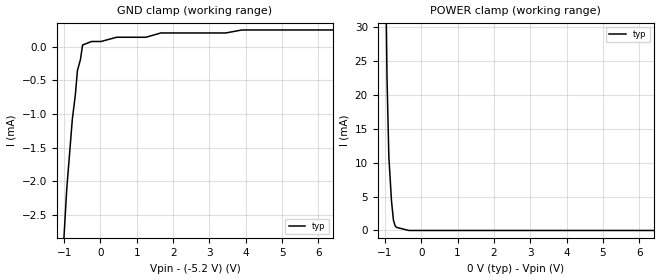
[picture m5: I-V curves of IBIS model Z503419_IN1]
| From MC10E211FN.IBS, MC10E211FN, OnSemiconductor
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| (C) COPYRIGHT 1993-2000
| MENTOR GRAPHICS CORPORATION
| ICX STANDARD LIBRARY, ICX PROJECT MODELING,
| ICX CUSTOM MODELING, ICX VENDOR MODEL
| ALL RIGHTS RESERVED.
| THE FOLLOWING ARE TRADEMARKS OR SERVICE MARKS OF
| MENTOR GRAPHICS CORPORATION:ICX (R), ICX STANDARD
| LIBRARY(R), ICX PROJECT MODELING(R), ICX CUSTOM
| MODELING(R), qualityIBIS(TM), MODELVIEWER(TM),
| AND MODELEDITOR(TM)
| ALL COPIES OF SOFTWARE, INCLUDING BUT NOT LIMITED TO
| ANY MODIFICATIONS, ENHANCEMENTS OR DERIVATIVE WORKS,
| MUST CONTAIN ALL MENTOR GRAPHICS CORPORATION'S
| NOTICES AND LEGENDS, INCLUDING THOSE EMBEDDED IN
| SOFTWARE AND THOSE AFFIXED TO SOFTWARE MEDIUM
| AND CONTAINER, AS RECEIVED FROM MENTOR GRAPHICS
| CORPORATION.
| Model Application Version 1.89 2/18/99.
[Model] Z503419_IN1
Model_type Input_ECL
Vinl = -1.480V
Vinh = -1.130V
C_comp 4.000pF NA NA
| variable typ   min   max
[Voltage Range] -5.200V NA NA
[GND Clamp Reference] -5.200V NA NA
[POWER Clamp Reference] 0.000V NA NA
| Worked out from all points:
|   GND clamp passes 1 mA (typ) near -0.76 V on its own axis
|   POWER clamp passes 1 mA (typ) near -0.74 V on its own axis
[GND Clamp]
-5.2V     -84.68mA   NA         NA
-1.167V   -4.337mA   NA         NA
-928mV    -2.104mA   NA         NA
-775mV    -1.077mA   NA         NA
-693mV    -719.5uA   NA         NA
-635mV    -355.8uA   NA         NA
-552mV    -193.8uA   NA         NA
-493mV    22.05uA    NA         NA
-246.5mV  74.2uA     NA         NA
1.66V     200.6uA    NA         NA
3.895V    245uA      NA         NA
10.4V     245uA      NA         NA
[POWER Clamp]
-5.2V     1.413A     NA         NA
-1.406V   203.1mA    NA         NA
-1.035V   63.21mA    NA         NA
-944.7mV  22.67mA    NA         NA
-893.6mV  10.9mA     NA         NA
-820.8mV  4.359mA    NA         NA
-766.8mV  1.527mA    NA         NA
-723mV    724.2uA    NA         NA
-684.9mV  461uA      NA         NA
-342.4mV  0A         NA         NA
10.4V     0A         NA         NA
